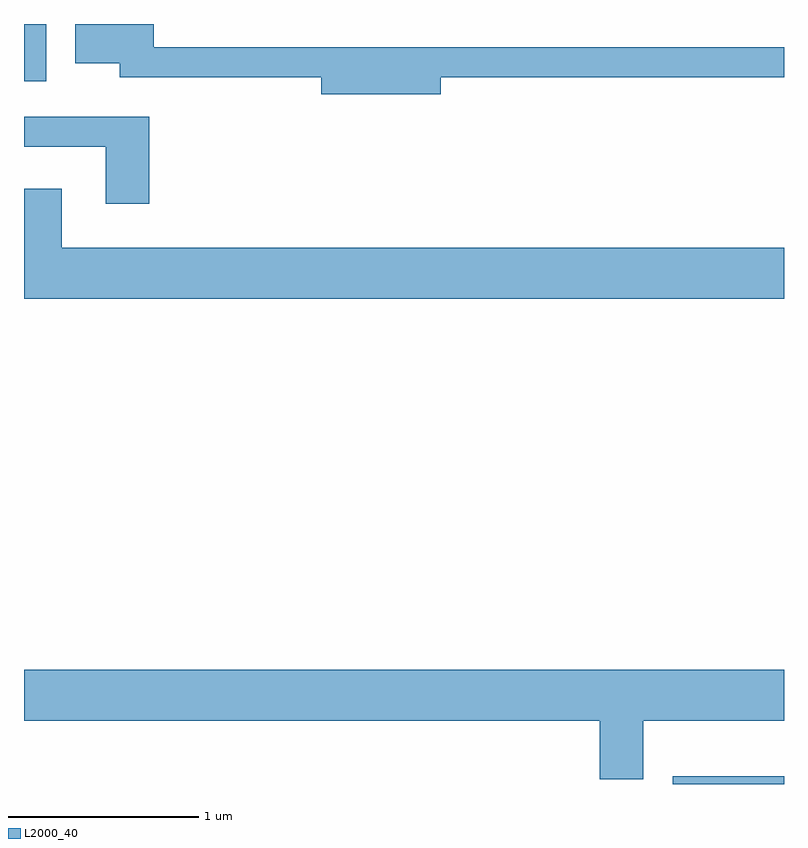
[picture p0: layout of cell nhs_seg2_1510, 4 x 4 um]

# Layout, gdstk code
import gdstk
lib = gdstk.Library(unit=1e-6, precision=1e-09)
def R(c, l, rs):  # rectangles x0, y0, x1, y1
    for r in rs: c.add(gdstk.rectangle(r[:2], r[2:], *l))
def P(c, l, *ps):  # polygons
    for p in ps: c.add(gdstk.Polygon(p, *l))
L2000_40 = (2000, 40)

nhs_seg2_1510 = lib.new_cell('nhs_seg2_1510')
R(nhs_seg2_1510, L2000_40, [(233.026,1005.802,233.611,1005.844), (229.611,1009.501,229.729,1009.802)])
P(nhs_seg2_1510, L2000_40, [(231.804,1009.521),(233.611,1009.521),(233.611,1009.679),(230.294,1009.679),(230.294,1009.802),(229.881,1009.802),(229.881,1009.596),(230.116,1009.596),(230.116,1009.521),(231.176,1009.521),(231.176,1009.431),(231.804,1009.431)],
  [(230.269,1009.314),(229.611,1009.314),(229.611,1009.156),(230.041,1009.156),(230.041,1008.856),(230.269,1008.856)],
  [(233.611,1008.624),(229.809,1008.624),(229.809,1008.934),(229.611,1008.934),(229.611,1008.356),(233.611,1008.356)],
  [(232.869,1006.136),(233.611,1006.136),(233.611,1006.404),(229.611,1006.404),(229.611,1006.136),(232.641,1006.136),(232.641,1005.826),(232.869,1005.826)])

lib.write_gds('nhs_seg2_1510.gds')
